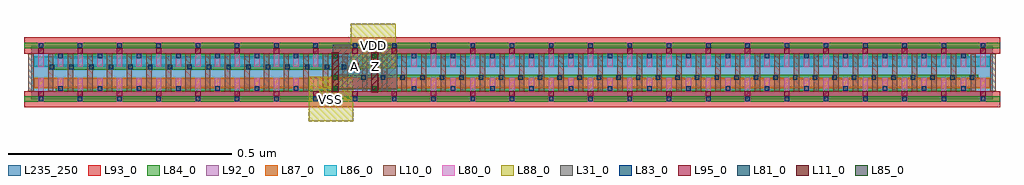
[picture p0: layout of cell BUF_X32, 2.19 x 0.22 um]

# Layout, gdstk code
import gdstk
lib = gdstk.Library(unit=1e-6, precision=1e-09)
def R(c, l, rs):  # rectangles x0, y0, x1, y1
    for r in rs: c.add(gdstk.rectangle(r[:2], r[2:], *l))
def A(c, l, x, y, w, h, nx, ny, dx, dy):  # array of equal rectangles
    R(c, l, [(x+i*dx, y+j*dy, x+i*dx+w, y+j*dy+h) for i in range(nx) for j in range(ny)])
L10_0 = (10, 0)
L11_0 = (11, 0)
L31_0 = (31, 0)
L80_0 = (80, 0)
L81_0 = (81, 0)
L83_0 = (83, 0)
L84_0 = (84, 0)
L85_0 = (85, 0)
L86_0 = (86, 0)
L87_0 = (87, 0)
L88_0 = (88, 0)
L92_0 = (92, 0)
L93_0 = (93, 0)
L95_0 = (95, 0)
L235_250 = (235, 250)

buf_x32 = lib.new_cell('BUF_X32')
A(buf_x32, L10_0, -0.006, 0.018, 0.012, 0.084, 50, 1, 0.044, 0)
R(buf_x32, L11_0, [(0.674,0.015,0.69,0.105), (0.762,0.015,0.778,0.105), (0.718,0.064,0.734,0.08)])
R(buf_x32, L31_0, [(0.676,0.022,0.776,0.122), (0.721,0.022,0.821,0.122)])
A(buf_x32, L80_0, 0.016, -0.006, 0.012, 0.054, 25, 2, 0.088, 0.078)
A(buf_x32, L80_0, 0.06, 0.018, 0.012, 0.03, 24, 2, 0.088, 0.054)
A(buf_x32, L81_0, 0.74, 0.043, 0.01, 0.01, 32, 1, 0.044, 0)
A(buf_x32, L81_0, 0.042, 0.067, 0.01, 0.01, 15, 1, 0.044, 0)
R(buf_x32, L81_0, [(0.696,0.067,0.706,0.077)])
A(buf_x32, L83_0, 0.017, -0.005, 0.01, 0.01, 25, 2, 0.088, 0.12)
A(buf_x32, L83_0, 0.061, 0.019, 0.01, 0.01, 24, 2, 0.088, 0.072)
R(buf_x32, L84_0, [(-0.016,-0.006,2.172,0.006), (0.055,0.018,0.69,0.03), (0.761,0.018,2.104,0.03), (0.673,0.042,2.123,0.054), (0.039,0.066,0.74,0.078), (0.053,0.09,0.69,0.102), (0.761,0.09,2.101,0.102), (-0.016,0.114,2.172,0.126)])
R(buf_x32, L85_0, [(0.677,0.019,0.687,0.029), (0.765,0.019,0.775,0.029), (0.677,0.043,0.687,0.053), (0.721,0.067,0.731,0.077), (0.677,0.091,0.687,0.101), (0.765,0.091,0.775,0.101)])
R(buf_x32, L86_0, [(0.006,0.072,2.15,0.096)])
R(buf_x32, L87_0, [(0.006,0.024,2.15,0.048)])
R(buf_x32, L88_0, [(0.622,-0.05,0.722,0.05), (0.717,0.069,0.817,0.169)])
R(buf_x32, L92_0, [(0.007,0.026,2.149,0.046), (0.007,0.074,2.149,0.094)])
R(buf_x32, L93_0, [(-0.016,-0.018,2.172,0.018), (-0.016,0.102,2.172,0.138)])
A(buf_x32, L95_0, 0.016, 0.006, 0.012, 0.012, 25, 2, 0.088, 0.096)
R(buf_x32, L235_250, [(0,0,2.156,0.12)])
buf_x32.add(gdstk.Label('VDD', (0.767,0.119), layer=88, texttype=0))
buf_x32.add(gdstk.Label('VSS', (0.672,0), layer=88, texttype=0))
buf_x32.add(gdstk.Label('Z', (0.771,0.072), layer=31, texttype=0))
buf_x32.add(gdstk.Label('A', (0.726,0.072), layer=31, texttype=0))

lib.write_gds('BUF_X32.gds')
